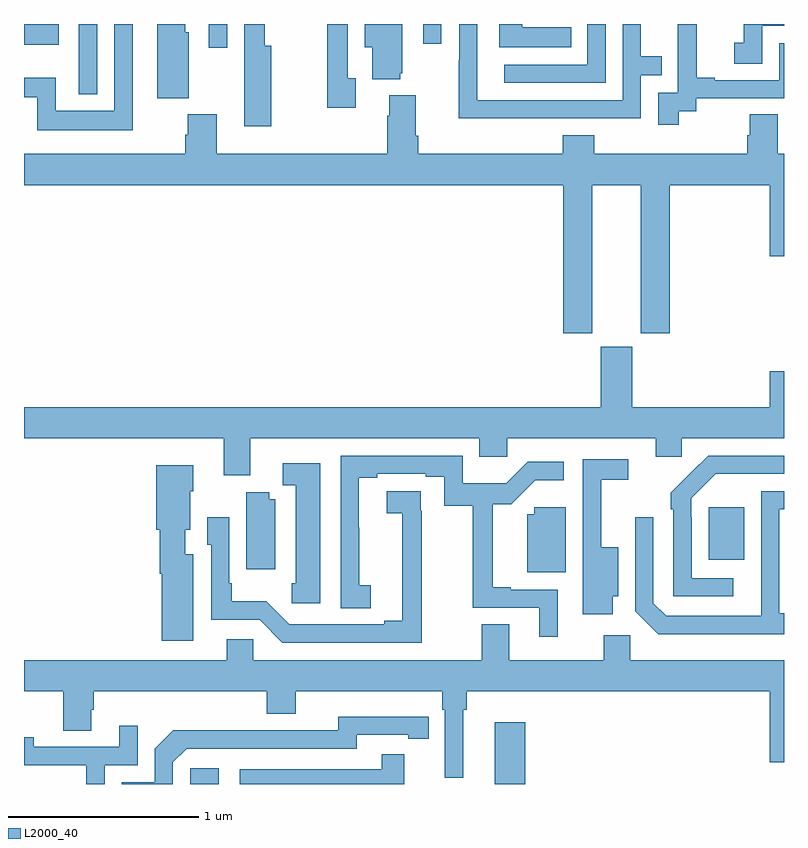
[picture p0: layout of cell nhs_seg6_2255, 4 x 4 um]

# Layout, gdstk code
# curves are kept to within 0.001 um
import gdstk
lib = gdstk.Library(unit=1e-6, precision=1e-09)
def R(c, l, rs):  # rectangles x0, y0, x1, y1
    for r in rs: c.add(gdstk.rectangle(r[:2], r[2:], *l))
def P(c, l, *ps):  # polygons
    for p in ps: c.add(gdstk.Polygon(p, *l))
L2000_40 = (2000, 40)

nhs_seg6_2255 = lib.new_cell('nhs_seg6_2255')
R(nhs_seg6_2255, L2000_40, [(245.874,961.5,246.025,961.582), (247.478,961.5,247.637,961.825), (248.603,962.681,248.791,962.956), (245.289,965.129,245.385,965.5), (245.973,965.376,246.069,965.5), (245,965.39,245.182,965.5), (247.101,965.397,247.197,965.5)])
P(nhs_seg6_2255, L2000_40, [(247.88,965.482),(247.623,965.482),(247.623,965.5),(247.502,965.5),(247.502,965.378),(247.88,965.378)],
  [(248.446,965.041),(248.538,965.041),(248.538,965.109),(249,965.109),(249,965.4),(248.976,965.4),(248.976,965.205),(248.635,965.205),(248.635,965.218),(248.54,965.218),(248.54,965.5),(248.441,965.5),(248.441,965.369),(248.442,965.369),(248.442,965.139),(248.337,965.139),(248.337,964.971),(248.446,964.971)],
  [(245.866,965.457),(245.848,965.457),(245.848,965.5),(245.702,965.5),(245.702,965.11),(245.866,965.11)],
  [(248.886,965.49),(249,965.49),(249,965.5),(248.788,965.5),(248.788,965.401),(248.739,965.401),(248.739,965.292),(248.886,965.292)],
  [(247.751,965.004),(248.247,965.004),(248.247,965.229),(248.357,965.229),(248.357,965.33),(248.247,965.33),(248.247,965.5),(248.151,965.5),(248.151,965.1),(247.386,965.1),(247.386,965.5),(247.29,965.5),(247.29,965.309),(247.288,965.309),(247.288,965.003),(247.751,965.003)],
  [(248.061,965.5),(247.965,965.5),(247.965,965.286),(247.527,965.286),(247.527,965.19),(248.061,965.19)],
  [(245.572,965.5),(245.475,965.5),(245.475,965.044),(245.166,965.044),(245.166,965.218),(245,965.218),(245,965.114),(245.069,965.114),(245.069,964.94),(245.572,964.94)],
  [(246.745,965.214),(246.705,965.214),(246.705,965.5),(246.597,965.5),(246.597,965.058),(246.745,965.058)],
  [(246.98,965.241),(246.991,965.241),(246.991,965.5),(246.794,965.5),(246.794,965.378),(246.833,965.378),(246.833,965.21),(246.98,965.21)],
  [(246.3,965.386),(246.268,965.386),(246.268,965.5),(246.159,965.5),(246.159,965.282),(246.158,965.282),(246.158,964.962),(246.3,964.962)],
  [(247.99,964.652),(248.246,964.652),(248.246,963.873),(248.399,963.873),(248.399,964.652),(248.924,964.652),(248.924,964.278),(249,964.278),(249,964.816),(248.967,964.816),(248.967,965.024),(248.819,965.024),(248.819,964.914),(248.807,964.914),(248.807,964.816),(248,964.816),(248,964.915),(247.835,964.915),(247.835,964.816),(247.076,964.816),(247.076,964.912),(247.063,964.912),(247.063,965.125),(246.923,965.125),(246.923,965.018),(246.911,965.018),(246.911,964.816),(246.014,964.816),(246.014,965.025),(245.861,965.025),(245.861,964.916),(245.849,964.916),(245.849,964.816),(245,964.816),(245,964.652),(247.838,964.652),(247.838,963.873),(247.99,963.873)],
  [(245,963.32),(246.05,963.32),(246.05,963.126),(246.19,963.126),(246.19,963.32),(247.397,963.32),(247.397,963.222),(247.544,963.222),(247.544,963.32),(248.324,963.32),(248.324,963.222),(248.463,963.222),(248.463,963.32),(249,963.32),(249,963.673),(248.924,963.673),(248.924,963.484),(248.2,963.484),(248.2,963.801),(248.036,963.801),(248.036,963.484),(245,963.484)],
  [(248.734,962.583),(248.514,962.583),(248.514,962.903),(248.511,962.903),(248.511,963.003),(248.64,963.132),(249,963.132),(249,963.228),(248.6,963.228),(248.403,963.033),(248.403,962.945),(248.418,962.945),(248.418,962.487),(248.734,962.487)],
  [(247.81,962.523),(247.561,962.523),(247.561,962.536),(247.466,962.536),(247.466,962.973),(247.565,962.973),(247.691,963.098),(247.84,963.098),(247.84,963.195),(247.65,963.195),(247.537,963.082),(247.308,963.082),(247.308,963.228),(246.666,963.228),(246.666,962.425),(246.826,962.425),(246.826,962.545),(246.765,962.545),(246.765,962.849),(246.763,962.849),(246.763,963.112),(246.859,963.112),(246.859,963.132),(247.115,963.132),(247.115,963.118),(247.212,963.118),(247.212,962.965),(247.363,962.965),(247.363,962.427),(247.712,962.427),(247.712,962.274),(247.81,962.274)],
  [(248.098,962.489),(248.128,962.489),(248.128,962.746),(248.039,962.746),(248.039,963.102),(248.179,963.102),(248.179,963.21),(247.941,963.21),(247.941,962.619),(247.94,962.619),(247.94,962.394),(248.098,962.394)],
  [(246.559,963.187),(246.363,963.187),(246.363,963.072),(246.431,963.072),(246.431,962.556),(246.409,962.556),(246.409,962.451),(246.559,962.451)],
  [(245.89,962.71),(245.848,962.71),(245.848,962.838),(245.874,962.838),(245.874,963.042),(245.89,963.042),(245.89,963.178),(245.696,963.178),(245.696,962.838),(245.714,962.838),(245.714,962.606),(245.726,962.606),(245.726,962.253),(245.89,962.253)],
  [(249,962.398),(248.976,962.398),(248.976,962.946),(249,962.946),(249,963.042),(248.88,963.042),(248.879,962.385),(248.379,962.385),(248.313,962.451),(248.313,962.905),(248.217,962.905),(248.217,962.409),(248.338,962.288),(249,962.288)],
  [(247.094,962.939),(247.088,962.939),(247.088,963.041),(246.909,963.041),(246.909,962.926),(246.991,962.926),(246.992,962.36),(246.896,962.36),(246.896,962.34),(246.396,962.34),(246.275,962.461),(246.094,962.461),(246.094,962.557),(246.081,962.557),(246.081,962.905),(245.964,962.905),(245.964,962.76),(245.985,962.76),(245.985,962.364),(246.24,962.364),(246.36,962.244),(247.094,962.244)],
  [(246.322,962.998),(246.29,962.998),(246.29,963.035),(246.17,963.035),(246.17,962.631),(246.322,962.631)],
  [(247.852,962.956),(247.686,962.956),(247.686,962.92),(247.649,962.92),(247.649,962.615),(247.852,962.615)],
  [(245,961.988),(245.206,961.988),(245.206,961.78),(245.353,961.78),(245.353,961.89),(245.366,961.89),(245.366,961.988),(246.278,961.988),(246.278,961.871),(246.43,961.871),(246.43,961.988),(247.202,961.988),(247.202,961.892),(247.215,961.892),(247.215,961.533),(247.312,961.533),(247.312,961.892),(247.331,961.892),(247.331,961.988),(248.924,961.988),(248.924,961.614),(249,961.614),(249,962.152),(248.19,962.152),(248.19,962.284),(248.051,962.284),(248.051,962.152),(247.555,962.152),(247.555,962.342),(247.408,962.342),(247.408,962.152),(246.207,962.152),(246.207,962.262),(246.068,962.262),(246.068,962.152),(245,962.152)],
  [(245.784,961.614),(245.856,961.686),(246.75,961.686),(246.75,961.758),(247.022,961.758),(247.022,961.738),(247.13,961.738),(247.13,961.854),(246.654,961.855),(246.654,961.782),(246.194,961.782),(246.194,961.784),(245.786,961.784),(245.688,961.686),(245.688,961.509),(245.514,961.509),(245.514,961.5),(245.784,961.5)],
  [(245.424,961.599),(245.598,961.599),(245.598,961.807),(245.501,961.807),(245.501,961.695),(245.05,961.695),(245.05,961.747),(245,961.747),(245,961.599),(245.328,961.599),(245.328,961.5),(245.424,961.5)],
  [(247.001,961.657),(246.883,961.657),(246.883,961.578),(246.135,961.578),(246.135,961.5),(247.001,961.5)])

lib.write_gds('nhs_seg6_2255.gds')
